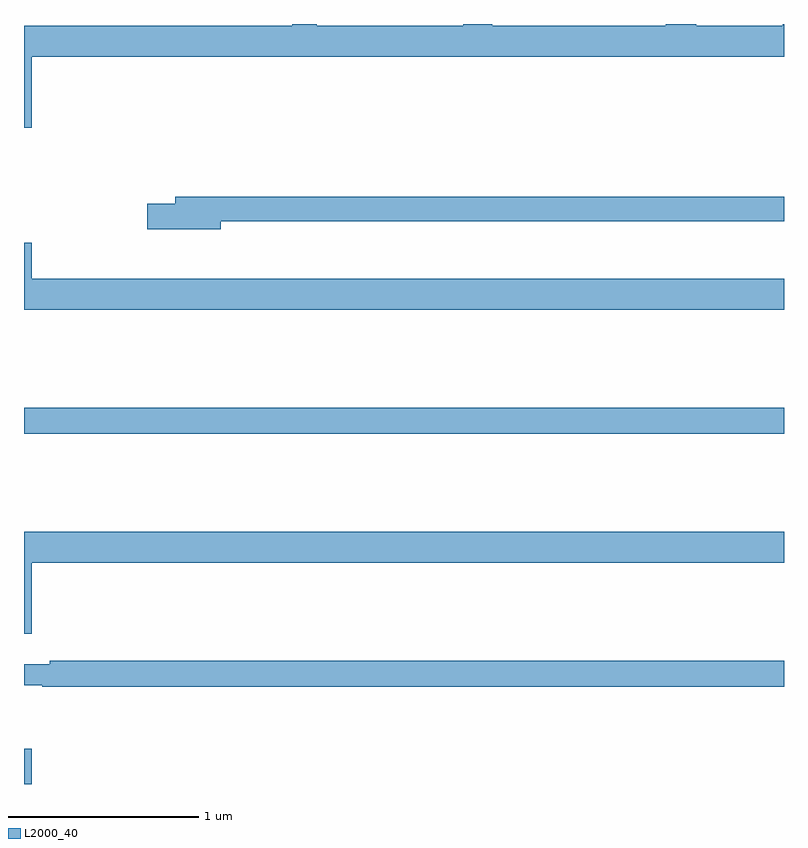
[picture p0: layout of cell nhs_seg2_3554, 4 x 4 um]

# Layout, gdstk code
import gdstk
lib = gdstk.Library(unit=1e-6, precision=1e-09)
def R(c, l, rs):  # rectangles x0, y0, x1, y1
    for r in rs: c.add(gdstk.rectangle(r[:2], r[2:], *l))
def P(c, l, *ps):  # polygons
    for p in ps: c.add(gdstk.Polygon(p, *l))
L2000_40 = (2000, 40)

nhs_seg2_3554 = lib.new_cell('nhs_seg2_3554')
R(nhs_seg2_3554, L2000_40, [(297,651.8,297.04,651.985), (297,653.644,301,653.78)])
P(nhs_seg2_3554, L2000_40, [(297.04,655.628),(301,655.628),(301,655.8),(300.994,655.8),(300.994,655.792),(300.537,655.792),(300.537,655.8),(300.377,655.8),(300.377,655.792),(299.465,655.792),(299.465,655.8),(299.312,655.8),(299.312,655.792),(298.541,655.792),(298.541,655.8),(298.411,655.8),(298.411,655.792),(297,655.792),(297,655.254),(297.04,655.254)],
  [(298.036,654.762),(301,654.762),(301,654.89),(297.797,654.89),(297.797,654.854),(297.648,654.854),(297.648,654.719),(298.036,654.719)],
  [(301,654.46),(297.04,654.46),(297.04,654.649),(297,654.649),(297,654.296),(301,654.296)],
  [(297.04,652.964),(301,652.964),(301,653.128),(297,653.128),(297,652.59),(297.04,652.59)],
  [(301,652.448),(297.136,652.448),(297.136,652.429),(297,652.429),(297,652.32),(297.095,652.32),(297.095,652.312),(301,652.312)])

lib.write_gds('nhs_seg2_3554.gds')
